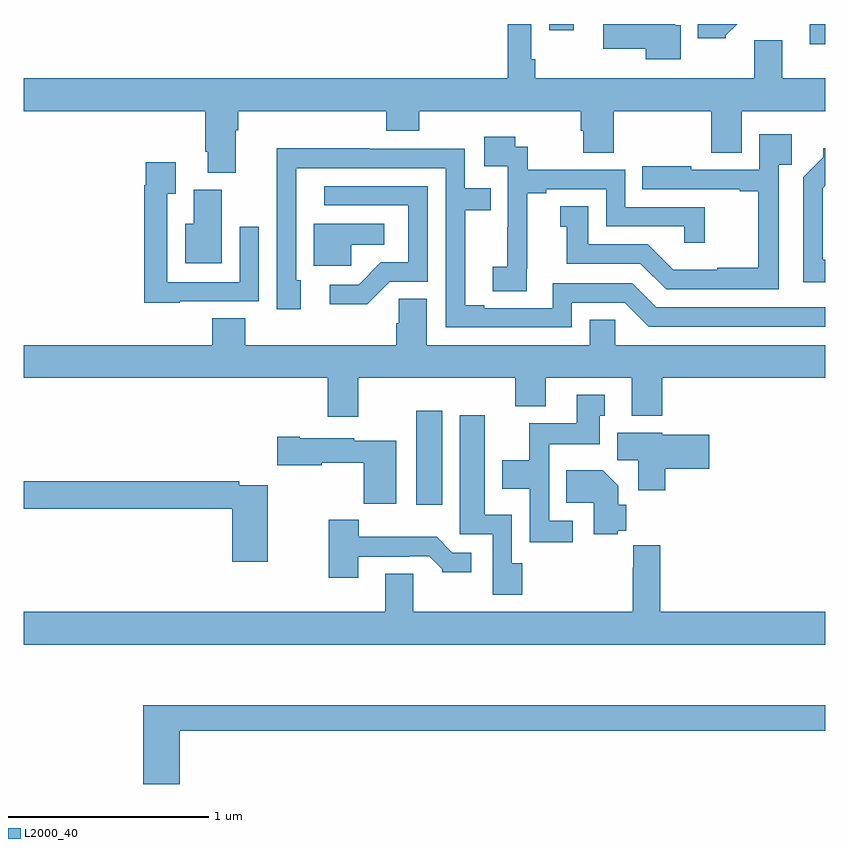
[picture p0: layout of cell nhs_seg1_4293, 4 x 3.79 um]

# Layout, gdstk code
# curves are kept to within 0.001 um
import gdstk
lib = gdstk.Library(unit=1e-6, precision=1e-09)
def R(c, l, rs):  # rectangles x0, y0, x1, y1
    for r in rs: c.add(gdstk.rectangle(r[:2], r[2:], *l))
def P(c, l, *ps):  # polygons
    for p in ps: c.add(gdstk.Polygon(p, *l))
L2000_40 = (2000, 40)

nhs_seg1_4293 = lib.new_cell('nhs_seg1_4293')
R(nhs_seg1_4293, L2000_40, [(346.958,517.8,347.089,518.269), (348.923,520.097,349,520.199), (347.624,520.167,347.746,520.199)])
P(nhs_seg1_4293, L2000_40, [(348.504,520.142),(348.561,520.199),(348.365,520.199),(348.365,520.127),(348.504,520.127)],
  [(348.28,520.194),(348.252,520.194),(348.252,520.199),(348.156,520.199),(348.156,520.198),(347.892,520.198),(347.892,520.076),(348.104,520.076),(348.104,520.022),(348.28,520.022)],
  [(346.057,519.668),(346.07,519.668),(346.07,519.764),(346.808,519.764),(346.808,519.665),(346.973,519.665),(346.973,519.764),(347.78,519.764),(347.78,519.666),(347.792,519.666),(347.792,519.556),(347.945,519.556),(347.945,519.764),(348.431,519.764),(348.431,519.556),(348.583,519.556),(348.583,519.764),(349,519.764),(349,519.928),(348.787,519.928),(348.787,520.118),(348.647,520.118),(348.647,519.928),(347.552,519.928),(347.552,520.024),(347.532,520.024),(347.532,520.199),(347.416,520.199),(347.416,519.928),(345,519.928),(345,519.764),(345.905,519.764),(345.905,519.562),(345.917,519.562),(345.917,519.457),(346.057,519.457)],
  [(348.768,519.497),(348.833,519.497),(348.833,519.649),(348.672,519.649),(348.672,519.471),(348.331,519.471),(348.331,519.49),(348.088,519.49),(348.088,519.375),(348.575,519.375),(348.575,519.363),(348.667,519.363),(348.667,518.983),(348.461,518.983),(348.461,518.971),(348.242,518.971),(348.114,519.099),(347.818,519.099),(347.818,519.29),(347.678,519.29),(347.678,519.187),(347.711,519.187),(347.711,519.003),(348.078,519.003),(348.207,518.874),(348.768,518.874)],
  [(347.51,518.977),(347.512,518.977),(347.512,519.355),(347.608,519.355),(347.608,519.375),(347.907,519.375),(347.907,519.189),(348.297,519.189),(348.297,519.108),(348.398,519.108),(348.398,519.285),(348.003,519.285),(348.003,519.471),(347.516,519.471),(347.516,519.585),(347.454,519.585),(347.454,519.637),(347.298,519.637),(347.298,519.489),(347.415,519.489),(347.415,519.185),(347.414,519.185),(347.414,518.988),(347.34,518.988),(347.34,518.866),(347.51,518.866)],
  [(347.736,518.808),(348,518.808),(348.12,518.688),(349,518.688),(349,518.784),(348.156,518.784),(348.036,518.904),(347.64,518.904),(347.64,518.781),(347.299,518.781),(347.299,518.796),(347.203,518.796),(347.203,519.27),(347.33,519.27),(347.33,519.378),(347.202,519.378),(347.202,519.576),(346.724,519.576),(346.724,519.578),(346.262,519.578),(346.263,518.775),(346.381,518.775),(346.381,518.919),(346.359,518.919),(346.359,519.48),(347.106,519.48),(347.106,518.685),(347.736,518.685)],
  [(349,519.023),(348.988,519.023),(348.988,519.379),(349,519.391),(349,519.578),(348.99,519.578),(348.99,519.533),(348.891,519.434),(348.891,518.91),(349,518.91)],
  [(345.777,518.814),(346.173,518.814),(346.173,519.187),(346.077,519.187),(346.077,518.91),(345.717,518.91),(345.717,519.352),(345.757,519.352),(345.757,519.508),(345.609,519.508),(345.609,519.395),(345.601,519.395),(345.601,518.807),(345.777,518.807)],
  [(346.827,518.913),(347.016,518.913),(347.016,519.39),(346.5,519.39),(346.5,519.294),(346.92,519.294),(346.92,519.009),(346.782,519.009),(346.671,518.898),(346.527,518.898),(346.527,518.801),(346.714,518.801)],
  [(345.988,519.371),(345.848,519.371),(345.848,519.202),(345.806,519.202),(345.806,519.005),(345.988,519.005)],
  [(346.635,519.098),(346.798,519.098),(346.798,519.202),(346.448,519.202),(346.448,518.991),(346.635,518.991)],
  [(346.669,518.432),(347.453,518.432),(347.453,518.291),(347.605,518.291),(347.605,518.432),(348.035,518.432),(348.035,518.243),(348.188,518.243),(348.188,518.432),(349,518.432),(349,518.596),(347.952,518.596),(347.952,518.723),(347.825,518.723),(347.825,518.596),(347.011,518.596),(347.011,518.828),(346.872,518.828),(346.872,518.705),(346.859,518.705),(346.859,518.596),(346.106,518.596),(346.106,518.729),(345.941,518.729),(345.941,518.596),(345,518.596),(345,518.432),(346.517,518.432),(346.517,518.238),(346.669,518.238)],
  [(347.74,517.719),(347.622,517.719),(347.622,518.102),(347.875,518.102),(347.875,518.244),(347.899,518.244),(347.899,518.347),(347.759,518.347),(347.759,518.206),(347.524,518.206),(347.524,518.02),(347.387,518.02),(347.387,517.88),(347.526,517.88),(347.526,517.611),(347.74,517.611)],
  [(347.489,517.506),(347.436,517.506),(347.436,517.75),(347.302,517.75),(347.302,518.245),(347.177,518.245),(347.177,517.653),(347.34,517.653),(347.34,517.35),(347.489,517.35)],
  [(348.203,517.979),(348.421,517.979),(348.421,518.149),(348.186,518.149),(348.186,518.158),(347.963,518.158),(347.963,518.02),(348.068,518.02),(348.068,517.871),(348.203,517.871)],
  [(346.858,518.119),(346.65,518.119),(346.65,518.131),(346.378,518.131),(346.378,518.139),(346.266,518.139),(346.266,517.996),(346.488,517.996),(346.488,518.009),(346.696,518.009),(346.696,517.805),(346.858,517.805)],
  [(347.964,517.67),(348.007,517.67),(348.007,517.798),(347.968,517.798),(347.968,517.894),(347.89,517.972),(347.707,517.972),(347.707,517.808),(347.846,517.808),(347.846,517.651),(347.964,517.651)],
  [(346.218,517.896),(346.076,517.896),(346.076,517.916),(345,517.916),(345,517.78),(346.04,517.78),(346.04,517.515),(346.218,517.515)],
  [(346.669,517.539),(346.925,517.539),(346.925,517.542),(347.024,517.542),(347.088,517.478),(347.088,517.463),(347.233,517.463),(347.233,517.56),(347.139,517.56),(347.061,517.639),(346.672,517.639),(346.672,517.723),(346.522,517.723),(346.522,517.434),(346.669,517.434)],
  [(349,517.264),(348.176,517.264),(348.176,517.597),(348.041,517.597),(348.041,517.484),(348.04,517.484),(348.04,517.264),(346.945,517.264),(346.945,517.454),(346.805,517.454),(346.805,517.264),(345,517.264),(345,517.1),(349,517.1)],
  [(345.779,516.67),(349,516.67),(349,516.799),(345.596,516.799),(345.596,516.405),(345.779,516.405)])

lib.write_gds('nhs_seg1_4293.gds')
